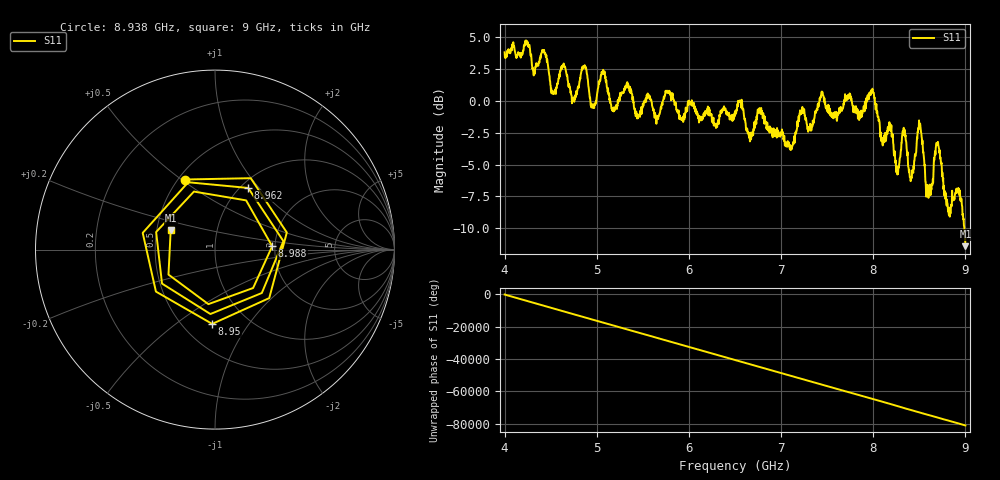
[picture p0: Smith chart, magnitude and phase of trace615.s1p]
! Created with skrf 1.8.0 (http://scikit-rf.org).
# Hz S RI R 50.0
!freq ReS11 ImS11
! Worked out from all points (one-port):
!   1601 points, 4 GHz to 9 GHz, reference 50 ohm
!   lowest |S11| = -11.4 dB at 9 GHz (marker M1), VSWR 1.74, Z = 29.6 + j6.8 ohm
!   |S11| at or under -10 dB: 8.988497 GHz to end of sweep
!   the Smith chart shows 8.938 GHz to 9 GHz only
!   S11 on the Smith chart (normalised r, x): 8.938 GHz: 0.54, +0.52; 8.95 GHz: 0.69, -0.69; 8.962 GHz: 1.08, +0.88; 8.988 GHz: 1.93, +0.08; 9 GHz: 0.59, +0.14
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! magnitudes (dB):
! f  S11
! 4 GHz  3.8
! 4.428 GHz  4.0
! 4.531 GHz  0.7
! 4.625 GHz  2.8
! 4.747 GHz  0.3
! 4.862 GHz  2.6
! 4.956 GHz  -0.4
! 5.069 GHz  2.4
! 5.25 GHz  0.3
! 5.875 GHz  -0.8
! 6.5 GHz  -0.8
! 7.125 GHz  -3.5
! 7.225 GHz  -0.8
! 7.75 GHz  0.5
! 7.991 GHz  1.0
! 8.1 GHz  -3.3
! 8.334 GHz  -2.3
! 8.375 GHz  -4.5
! 8.419 GHz  -6.0
! 8.503 GHz  -1.8
! 8.597 GHz  -7.4
! 8.697 GHz  -3.3
! 8.812 GHz  -8.7
! 8.938 GHz  -7.4
! 8.95 GHz  -7.7
! 8.962 GHz  -8.2
! 8.988 GHz  -9.9
! 9 GHz  -11.4
